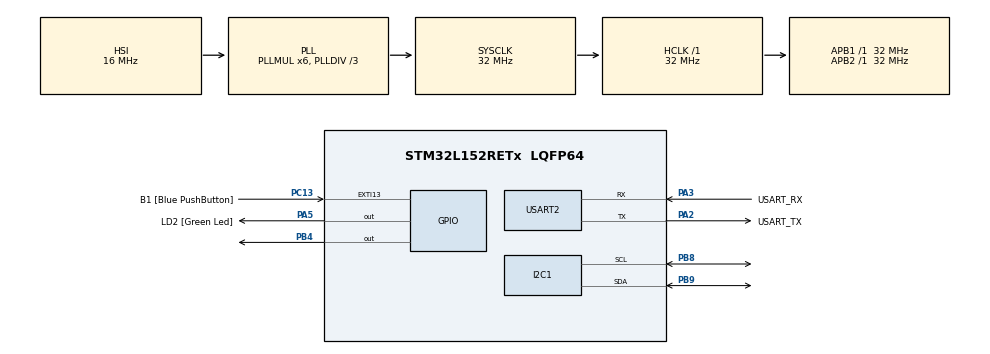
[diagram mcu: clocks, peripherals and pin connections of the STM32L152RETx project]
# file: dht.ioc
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Mcu.Family=STM32L1
Mcu.Name=STM32L152RETx
Mcu.Package=LQFP64
NVIC.PriorityGroup=NVIC_PRIORITYGROUP_0
PA13.GPIO_Label=TMS
PA13.Mode=Serial_Wire
PA13.Signal=SYS_JTMS-SWDIO
PA14.GPIO_Label=TCK
PA14.Mode=Serial_Wire
PA14.Signal=SYS_JTCK-SWCLK
PA2.GPIO_Label=USART_TX
PA2.Mode=Asynchronous
PA2.Signal=USART2_TX
PA3.GPIO_Label=USART_RX
PA3.Mode=Asynchronous
PA3.Signal=USART2_RX
PA5.GPIO_Label=LD2 [Green Led]
PA5.Signal=GPIO_Output
PB3.GPIO_Label=SWO
PB3.Signal=SYS_JTDO-TRACESWO
PB4.GPIO_PuPd=GPIO_PULLUP
PB4.Signal=GPIO_Output
PB8.Mode=I2C
PB8.Signal=I2C1_SCL
PB9.Mode=I2C
PB9.Signal=I2C1_SDA
PC13-WKUP2.GPIO_Label=B1 [Blue PushButton]
PC13-WKUP2.Signal=GPXTI13
PC14-OSC32_IN.Mode=LSE-External-Oscillator
PC14-OSC32_IN.Signal=RCC_OSC32_IN
PC15-OSC32_OUT.Mode=LSE-External-Oscillator
PC15-OSC32_OUT.Signal=RCC_OSC32_OUT
PH0-OSC_IN.Mode=HSE-External-Clock-Source
PH0-OSC_IN.Signal=RCC_OSC_IN
PH1-OSC_OUT.Signal=RCC_OSC_OUT
ProjectManager.HeapSize=0x200
ProjectManager.StackSize=0x400
ProjectManager.TargetToolchain=STM32CubeIDE
RCC.48MHZClocksFreq_Value=48000000
RCC.AHBFreq_Value=32000000
RCC.APB1Freq_Value=32000000
RCC.APB1TimFreq_Value=32000000
RCC.APB2Freq_Value=32000000
RCC.APB2TimFreq_Value=32000000
RCC.HCLKFreq_Value=32000000
RCC.HSE_VALUE=8000000
RCC.HSI_VALUE=16000000
RCC.MSI_VALUE=2097000
RCC.PLLDIV=RCC_PLL_DIV3
RCC.PLLMUL=RCC_PLL_MUL6
RCC.RTCClockSelectionVirtual=RCC_RTCCLKSOURCE_LSE
RCC.SYSCLKFreq_VALUE=32000000
RCC.SYSCLKSource=RCC_SYSCLKSOURCE_PLLCLK
RCC.USBOutput=48000000
RCC.VCOOutputFreq_Value=96000000
USART2.VirtualMode=VM_ASYNC
board=NUCLEO-L152RE

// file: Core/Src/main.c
/* USER CODE BEGIN Header */
/*
*/
/* USER CODE END Header */
#include "main.h"
#include "i2c.h"
#include "usart.h"
#include "gpio.h"

/* USER CODE BEGIN Includes */
#include "lib_lcd.h"
#include <stdio.h>
 //pour creer des microsecondes
/* USER CODE END Includes */

/* USER CODE BEGIN PTD */
static rgb_lcd lcdData;
/* USER CODE END PTD */

/* USER CODE BEGIN PV */

float Temperature , Humidite ;
uint16_t size , RH = 0, TEMP = 0;
uint8_t dataH1;
uint8_t dataH2;
uint8_t dataT1;
uint8_t dataT2;
uint8_t SUM;
uint8_t check;
char bufRH[20]; //pour stocker une valeur et l'afficher sur le LCD
char bufT[20]; //pour stocker une valeur et l'afficher sur le LCD
uint8_t Data[256];
uint8_t Data36[256];
uint16_t size1;
uint16_t size2;

/* USER CODE END PV */

void SystemClock_Config(void);
/* USER CODE BEGIN PFP */
uint32_t DWT_Delay_Init(void)
{
    /* Disable TRC */
    CoreDebug->DEMCR &= ~CoreDebug_DEMCR_TRCENA_Msk; // ~0x01000000;
    /* Enable TRC */
    CoreDebug->DEMCR |=  CoreDebug_DEMCR_TRCENA_Msk; // 0x01000000;

    /* Disable clock cycle counter */
    DWT->CTRL &= ~DWT_CTRL_CYCCNTENA_Msk; //~0x00000001;
    /* Enable  clock cycle counter */
    DWT->CTRL |=  DWT_CTRL_CYCCNTENA_Msk; //0x00000001;

    /* Reset the clock cycle counter value */
    DWT->CYCCNT = 0;

    /* 3 NO OPERATION instructions */
    __ASM volatile ("NOP");
    __ASM volatile ("NOP");
    __ASM volatile ("NOP");

    /* Check if clock cycle counter has started */
    if(DWT->CYCCNT)
    {
       return 0; /*clock cycle counter started*/
    }
    else
    {
      return 1; /*clock cycle counter not started*/
    }
}

// This Function Provides Delay In Microseconds Using DWT

__STATIC_INLINE void DWT_Delay_us(volatile uint32_t au32_microseconds)
{
  uint32_t au32_initial_ticks = DWT->CYCCNT;
  uint32_t au32_ticks = (HAL_RCC_GetHCLKFreq() / 1000000);
  au32_microseconds *= au32_ticks;
  while ((DWT->CYCCNT - au32_initial_ticks) < au32_microseconds-au32_ticks);
}

// This Function Provides Delay In Milliseconds Using DWT

__STATIC_INLINE void DWT_Delay_ms(volatile uint32_t au32_milliseconds)
{
  uint32_t au32_initial_ticks = DWT->CYCCNT;
  uint32_t au32_ticks = (HAL_RCC_GetHCLKFreq() / 1000);
  au32_milliseconds *= au32_ticks;
  while ((DWT->CYCCNT - au32_initial_ticks) < au32_milliseconds);
}

#define DHT22_PORT GPIOB
#define DHT22_PIN GPIO_PIN_4

/*uint8_t Rh_byte1, Rh_byte2, Temp_byte1, Temp_byte2;
uint16_t SUM, RH, TEMP;*/

void Set_Pin_Output (GPIO_TypeDef *GPIOx, uint16_t GPIO_Pin)
{
	GPIO_InitTypeDef GPIO_InitStruct = {0};
	GPIO_InitStruct.Pin = GPIO_Pin;
	GPIO_InitStruct.Mode = GPIO_MODE_OUTPUT_PP;
	GPIO_InitStruct.Speed = GPIO_SPEED_FREQ_LOW;
	HAL_GPIO_Init(GPIOx, &GPIO_InitStruct);
}

void Set_Pin_Input (GPIO_TypeDef *GPIOx, uint16_t GPIO_Pin)
{
	GPIO_InitTypeDef GPIO_InitStruct = {0};
	GPIO_InitStruct.Pin = GPIO_Pin;
	GPIO_InitStruct.Mode = GPIO_MODE_INPUT;
	GPIO_InitStruct.Pull = GPIO_PULLUP;
	HAL_GPIO_Init(GPIOx, &GPIO_InitStruct);
}

void Read_data (uint8_t *data)
  {
  	int i, k;
  	for (i=0;i<8;i++)
  	{
  		if (HAL_GPIO_ReadPin (GPIOB, GPIO_PIN_4) == GPIO_PIN_RESET)
  		{
  			(*data)&= ~(1<<(7-i)); //data bit is 0
  			while(!(HAL_GPIO_ReadPin(GPIOB, GPIO_PIN_4)));
  			DWT_Delay_us(40);
  		}
  		else                       //data bit is 1
  		{
  			(*data)|= (1<<(7-i));
  			for (k=0;k<1000;k++)
  			{
  				if (HAL_GPIO_ReadPin (GPIOB, GPIO_PIN_4) == GPIO_PIN_RESET)
  				  {
  				  	break;
  				  }
  			}
  			while(!(HAL_GPIO_ReadPin(GPIOB, GPIO_PIN_4)));
  			DWT_Delay_us(40);
  		}
  	 }
  }

/* USER CODE END PFP */

int main(void)
{
  /* USER CODE BEGIN 1 */

  int k = 0; //variable pour les boucles while

  /* USER CODE END 1 */

  /* MCU Configuration--------------------------------------------------------*/

  /* Reset of all peripherals, Initializes the Flash interface and the Systick. */
  HAL_Init();

  /* Configure the system clock */
  SystemClock_Config();

  /* Initialize all configured peripherals */
  MX_GPIO_Init();
  MX_USART2_UART_Init();
  //MX_USART1_UART_Init();

  MX_I2C1_Init();
  /* USER CODE BEGIN 2 */
  DWT_Delay_Init();
  lcd_init(&hi2c1, &lcdData); // initialise le lcd
 // lcd_position(&hi2c1,0,0);
  //lcd_print(&hi2c1,"Bonjour!!");
//  HAL_Delay(3000);
  /* USER CODE END 2 */

  /* Infinite loop */
  while (1)
  {

	      /* USER CODE BEGIN 3 */

	  	  /*commence la communication avec le capteur*/

 	  HAL_Delay(1000);// Effectuer des mesures chaque seconde
	  	  Set_Pin_Output(GPIOB, GPIO_PIN_4); //Configuration du pin en sortie
	  	  HAL_GPIO_WritePin(GPIOB, GPIO_PIN_4, GPIO_PIN_RESET); //Mise à 0 du pin
	  	  DWT_Delay_us(1000); //Envoi de la premiere partie du signal de commande
	  	  HAL_GPIO_WritePin(GPIOB, GPIO_PIN_4, GPIO_PIN_SET); // Mise a 1 du pin
	  	  DWT_Delay_us(30); //Envoi de la deuxieme partie du signal de commande
	  	  Set_Pin_Input(GPIOB, GPIO_PIN_4); //Configuration du pin en entrée

	  	  // Lecture des données

	  	  while(!(HAL_GPIO_ReadPin(GPIOB, GPIO_PIN_4)));

	  	  for (k=0;k<1000;k++)
	  	  {
	  		  if (HAL_GPIO_ReadPin (GPIOB, GPIO_PIN_4) == GPIO_PIN_RESET)
	  		  {
	  	  	  	break;
	  	  	  }
	  	  }

	  	  while(!(HAL_GPIO_ReadPin(GPIOB, GPIO_PIN_4)));
	  	  DWT_Delay_us(40);

	  	  Read_data(&dataH1); //Lecture du premier octet d'humidité
	  	  Read_data(&dataH2); //Lecture du deuxieme octet d'humidité
	  	  Read_data(&dataT1); //Lecture du premier octet de temperature
	  	  Read_data(&dataT2); //Lecture du deuxieme octet de temperature
	  	  Read_data(&SUM);  //Lecture d'octet de sécurité

	  	  check = dataH1 + dataH2 + dataT1 + dataT2;

	  	  RH = (dataH1<<8) | dataH2;  //Concatenation des octets d'humidité
	  	  TEMP = (dataT1<<8) | dataT2; //Concatenation des octets de temperature

	  	  Humidite = (int) RH / 10.0; //Les valeurs recues sont egales à fois les valeurs reelles
	  	  Temperature = (int) TEMP / 10.0;

	  	  HAL_GPIO_WritePin(GPIOB, GPIO_PIN_4, GPIO_PIN_SET); //Preparation pour lecture suivante

	  	 //Affichage sur LCD

	  	  size=sprintf((char *)Data,"HUMIDITE : %.1f", Humidite);

	  	  lcd_position(&hi2c1,0,0);
	  	  lcd_print(&hi2c1,(char*)Data);
	  	  lcd_print(&hi2c1,"%");
	  	  size=  sprintf((char *)Data, "TEMP :    %.1f C", Temperature);

	  	  lcd_position(&hi2c1,0,1);
	  	  lcd_print(&hi2c1,(char*)Data);
	    }
	    /* USER CODE END 3 */
} //

void SystemClock_Config(void)
{
  RCC_OscInitTypeDef RCC_OscInitStruct = {0};
  RCC_ClkInitTypeDef RCC_ClkInitStruct = {0};

  /** Configure the main internal regulator output voltage
  */
  __HAL_PWR_VOLTAGESCALING_CONFIG(PWR_REGULATOR_VOLTAGE_SCALE1);

  /** Initializes the RCC Oscillators according to the specified parameters
  * in the RCC_OscInitTypeDef structure.
  */
  RCC_OscInitStruct.OscillatorType = RCC_OSCILLATORTYPE_HSI;
  RCC_OscInitStruct.HSIState = RCC_HSI_ON;
  RCC_OscInitStruct.HSICalibrationValue = RCC_HSICALIBRATION_DEFAULT;
  RCC_OscInitStruct.PLL.PLLState = RCC_PLL_ON;
  RCC_OscInitStruct.PLL.PLLSource = RCC_PLLSOURCE_HSI;
  RCC_OscInitStruct.PLL.PLLMUL = RCC_PLL_MUL6;
  RCC_OscInitStruct.PLL.PLLDIV = RCC_PLL_DIV3;
  if (HAL_RCC_OscConfig(&RCC_OscInitStruct) != HAL_OK)
  {
    Error_Handler();
  }

  /** Initializes the CPU, AHB and APB buses clocks
  */
  RCC_ClkInitStruct.ClockType = RCC_CLOCKTYPE_HCLK|RCC_CLOCKTYPE_SYSCLK
                              |RCC_CLOCKTYPE_PCLK1|RCC_CLOCKTYPE_PCLK2;
  RCC_ClkInitStruct.SYSCLKSource = RCC_SYSCLKSOURCE_PLLCLK;
  RCC_ClkInitStruct.AHBCLKDivider = RCC_SYSCLK_DIV1;
  RCC_ClkInitStruct.APB1CLKDivider = RCC_HCLK_DIV1;
  RCC_ClkInitStruct.APB2CLKDivider = RCC_HCLK_DIV1;

  if (HAL_RCC_ClockConfig(&RCC_ClkInitStruct, FLASH_LATENCY_1) != HAL_OK)
  {
    Error_Handler();
  }
}

void Error_Handler(void)
{
  __disable_irq();
  while (1)
  {
  }
}
